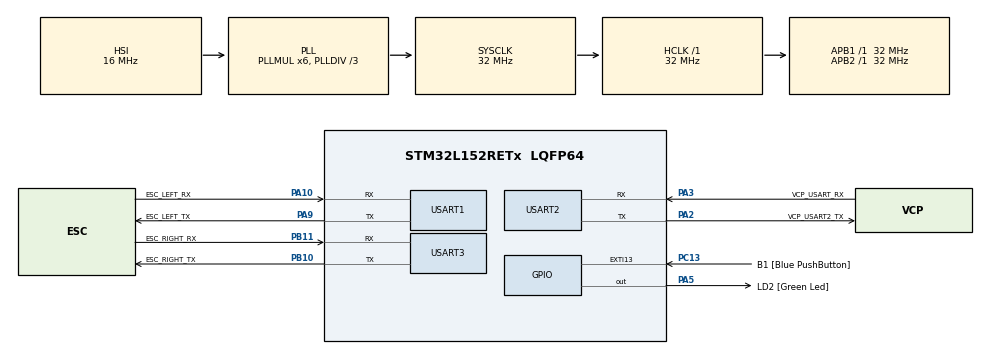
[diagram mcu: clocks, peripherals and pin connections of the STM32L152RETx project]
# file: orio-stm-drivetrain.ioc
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Mcu.Family=STM32L1
Mcu.Name=STM32L152RETx
Mcu.Package=LQFP64
NVIC.PriorityGroup=NVIC_PRIORITYGROUP_0
NVIC.USART1_IRQn=true\:0\:0\:false\:false\:true\:true\:true\:true
NVIC.USART2_IRQn=true\:0\:0\:false\:false\:true\:true\:true\:true
NVIC.USART3_IRQn=true\:0\:0\:false\:false\:true\:true\:true\:true
PA10.GPIO_Label=ESC_LEFT_RX
PA10.Mode=Asynchronous
PA10.Signal=USART1_RX
PA13.GPIO_Label=TMS
PA13.Mode=Serial_Wire
PA13.Signal=SYS_JTMS-SWDIO
PA14.GPIO_Label=TCK
PA14.Mode=Serial_Wire
PA14.Signal=SYS_JTCK-SWCLK
PA2.GPIO_Label=VCP_USART2_TX
PA2.Mode=Asynchronous
PA2.Signal=USART2_TX
PA3.GPIO_Label=VCP_USART_RX
PA3.Mode=Asynchronous
PA3.Signal=USART2_RX
PA5.GPIO_Label=LD2 [Green Led]
PA5.Signal=GPIO_Output
PA9.GPIO_Label=ESC_LEFT_TX
PA9.Mode=Asynchronous
PA9.Signal=USART1_TX
PB10.GPIO_Label=ESC_RIGHT_TX
PB10.Mode=Asynchronous
PB10.Signal=USART3_TX
PB11.GPIO_Label=ESC_RIGHT_RX
PB11.Mode=Asynchronous
PB11.Signal=USART3_RX
PB3.GPIO_Label=SWO
PB3.Signal=SYS_JTDO-TRACESWO
PC13-WKUP2.GPIO_Label=B1 [Blue PushButton]
PC13-WKUP2.Signal=GPXTI13
PC14-OSC32_IN.Mode=LSE-External-Oscillator
PC14-OSC32_IN.Signal=RCC_OSC32_IN
PC15-OSC32_OUT.Mode=LSE-External-Oscillator
PC15-OSC32_OUT.Signal=RCC_OSC32_OUT
PH0-OSC_IN.Mode=HSE-External-Clock-Source
PH0-OSC_IN.Signal=RCC_OSC_IN
PH1-OSC_OUT.Signal=RCC_OSC_OUT
ProjectManager.HeapSize=0x200
ProjectManager.StackSize=0x400
ProjectManager.TargetToolchain=STM32CubeIDE
RCC.48MHZClocksFreq_Value=48000000
RCC.AHBFreq_Value=32000000
RCC.APB1Freq_Value=32000000
RCC.APB1TimFreq_Value=32000000
RCC.APB2Freq_Value=32000000
RCC.APB2TimFreq_Value=32000000
RCC.HCLKFreq_Value=32000000
RCC.HSE_VALUE=8000000
RCC.HSI_VALUE=16000000
RCC.MSI_VALUE=2097000
RCC.PLLDIV=RCC_PLL_DIV3
RCC.PLLMUL=RCC_PLL_MUL6
RCC.RTCClockSelectionVirtual=RCC_RTCCLKSOURCE_LSE
RCC.SYSCLKFreq_VALUE=32000000
RCC.SYSCLKSource=RCC_SYSCLKSOURCE_PLLCLK
RCC.USBOutput=48000000
RCC.VCOOutputFreq_Value=96000000
USART1.VirtualMode=VM_ASYNC
USART2.VirtualMode=VM_ASYNC
USART3.VirtualMode=VM_ASYNC
board=NUCLEO-L152RE

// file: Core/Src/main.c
/* USER CODE BEGIN Header */
/**
  ******************************************************************************
  * @file           : main.c
  * @brief          : Main program body
  ******************************************************************************
  * @attention
  *
  * Copyright (c) 2026 STMicroelectronics.
  * All rights reserved.
  *
  * This software is licensed under terms that can be found in the LICENSE file
  * in the root directory of this software component.
  * If no LICENSE file comes with this software, it is provided AS-IS.
  *
  ******************************************************************************
  */
/* USER CODE END Header */
#include "main.h"

/* USER CODE BEGIN Includes */
#include "protocol.h"
#include "wheel.h"
/* USER CODE END Includes */

/* USER CODE BEGIN PD */
#define WHEEL_TELEMETRY_POLL_PERIOD_MS 50u
/* Well under the FSESC's own configured UART command timeout (~1000ms,
 * see VESC Tool -> App Settings -> General -> Timeout) -- that timeout
 * cuts the motor independently of this board's Jetson-link heartbeat
 * watchdog, so the commanded duty has to keep being re-sent even when it
 * hasn't changed, not just once when a new CMD_SET_DRIVE arrives. */
#define WHEEL_DUTY_REFRESH_PERIOD_MS 200u
/* USER CODE END PD */

UART_HandleTypeDef huart1;
UART_HandleTypeDef huart2;
UART_HandleTypeDef huart3;

/* USER CODE BEGIN PV */
static uint32_t s_last_telemetry_poll_tick;
static uint32_t s_last_duty_refresh_tick;
/* USER CODE END PV */

void SystemClock_Config(void);
static void MX_GPIO_Init(void);
static void MX_USART1_UART_Init(void);
static void MX_USART2_UART_Init(void);
static void MX_USART3_UART_Init(void);

int main(void)
{

  /* MCU Configuration--------------------------------------------------------*/

  /* Reset of all peripherals, Initializes the Flash interface and the Systick. */
  HAL_Init();

  /* Configure the system clock */
  SystemClock_Config();

  /* Initialize all configured peripherals */
  MX_GPIO_Init();
  MX_USART1_UART_Init();
  MX_USART2_UART_Init();
  MX_USART3_UART_Init();
  /* USER CODE BEGIN 2 */
  Wheel_Init(&huart1, &huart3); /* huart1 = left FSESC, huart3 = right FSESC */
  Protocol_Init(&huart2); /* e-stops both wheels until the first heartbeat */
  s_last_telemetry_poll_tick = HAL_GetTick();
  s_last_duty_refresh_tick = HAL_GetTick();
  /* USER CODE END 2 */

  /* Infinite loop */
  /* USER CODE BEGIN WHILE */
  while (1)
  {
    Protocol_Process();

    if ((HAL_GetTick() - s_last_telemetry_poll_tick) >= WHEEL_TELEMETRY_POLL_PERIOD_MS)
    {
      s_last_telemetry_poll_tick = HAL_GetTick();
      Wheel_PollTelemetry();
    }

    if ((HAL_GetTick() - s_last_duty_refresh_tick) >= WHEEL_DUTY_REFRESH_PERIOD_MS)
    {
      s_last_duty_refresh_tick = HAL_GetTick();
      Wheel_Resume(); /* re-sends the currently commanded duty, changed or not */
    }
    /* USER CODE END WHILE */

  }
}

void SystemClock_Config(void)
{
  RCC_OscInitTypeDef RCC_OscInitStruct = {0};
  RCC_ClkInitTypeDef RCC_ClkInitStruct = {0};

  /** Configure the main internal regulator output voltage
  */
  __HAL_PWR_VOLTAGESCALING_CONFIG(PWR_REGULATOR_VOLTAGE_SCALE1);

  /** Initializes the RCC Oscillators according to the specified parameters
  * in the RCC_OscInitTypeDef structure.
  */
  RCC_OscInitStruct.OscillatorType = RCC_OSCILLATORTYPE_HSI;
  RCC_OscInitStruct.HSIState = RCC_HSI_ON;
  RCC_OscInitStruct.HSICalibrationValue = RCC_HSICALIBRATION_DEFAULT;
  RCC_OscInitStruct.PLL.PLLState = RCC_PLL_ON;
  RCC_OscInitStruct.PLL.PLLSource = RCC_PLLSOURCE_HSI;
  RCC_OscInitStruct.PLL.PLLMUL = RCC_PLL_MUL6;
  RCC_OscInitStruct.PLL.PLLDIV = RCC_PLL_DIV3;
  if (HAL_RCC_OscConfig(&RCC_OscInitStruct) != HAL_OK)
  {
    Error_Handler();
  }

  /** Initializes the CPU, AHB and APB buses clocks
  */
  RCC_ClkInitStruct.ClockType = RCC_CLOCKTYPE_HCLK|RCC_CLOCKTYPE_SYSCLK
                              |RCC_CLOCKTYPE_PCLK1|RCC_CLOCKTYPE_PCLK2;
  RCC_ClkInitStruct.SYSCLKSource = RCC_SYSCLKSOURCE_PLLCLK;
  RCC_ClkInitStruct.AHBCLKDivider = RCC_SYSCLK_DIV1;
  RCC_ClkInitStruct.APB1CLKDivider = RCC_HCLK_DIV1;
  RCC_ClkInitStruct.APB2CLKDivider = RCC_HCLK_DIV1;

  if (HAL_RCC_ClockConfig(&RCC_ClkInitStruct, FLASH_LATENCY_1) != HAL_OK)
  {
    Error_Handler();
  }
}

static void MX_USART1_UART_Init(void)
{

  huart1.Instance = USART1;
  huart1.Init.BaudRate = 115200;
  huart1.Init.WordLength = UART_WORDLENGTH_8B;
  huart1.Init.StopBits = UART_STOPBITS_1;
  huart1.Init.Parity = UART_PARITY_NONE;
  huart1.Init.Mode = UART_MODE_TX_RX;
  huart1.Init.HwFlowCtl = UART_HWCONTROL_NONE;
  huart1.Init.OverSampling = UART_OVERSAMPLING_16;
  if (HAL_UART_Init(&huart1) != HAL_OK)
  {
    Error_Handler();
  }

}

static void MX_USART2_UART_Init(void)
{

  huart2.Instance = USART2;
  huart2.Init.BaudRate = 115200;
  huart2.Init.WordLength = UART_WORDLENGTH_8B;
  huart2.Init.StopBits = UART_STOPBITS_1;
  huart2.Init.Parity = UART_PARITY_NONE;
  huart2.Init.Mode = UART_MODE_TX_RX;
  huart2.Init.HwFlowCtl = UART_HWCONTROL_NONE;
  huart2.Init.OverSampling = UART_OVERSAMPLING_16;
  if (HAL_UART_Init(&huart2) != HAL_OK)
  {
    Error_Handler();
  }

}

static void MX_USART3_UART_Init(void)
{

  huart3.Instance = USART3;
  huart3.Init.BaudRate = 115200;
  huart3.Init.WordLength = UART_WORDLENGTH_8B;
  huart3.Init.StopBits = UART_STOPBITS_1;
  huart3.Init.Parity = UART_PARITY_NONE;
  huart3.Init.Mode = UART_MODE_TX_RX;
  huart3.Init.HwFlowCtl = UART_HWCONTROL_NONE;
  huart3.Init.OverSampling = UART_OVERSAMPLING_16;
  if (HAL_UART_Init(&huart3) != HAL_OK)
  {
    Error_Handler();
  }

}

static void MX_GPIO_Init(void)
{
  GPIO_InitTypeDef GPIO_InitStruct = {0};

  /* GPIO Ports Clock Enable */
  __HAL_RCC_GPIOC_CLK_ENABLE();
  __HAL_RCC_GPIOH_CLK_ENABLE();
  __HAL_RCC_GPIOA_CLK_ENABLE();
  __HAL_RCC_GPIOB_CLK_ENABLE();

  /*Configure GPIO pin Output Level */
  HAL_GPIO_WritePin(LD2_GPIO_Port, LD2_Pin, GPIO_PIN_RESET);

  /*Configure GPIO pin : B1_Pin */
  GPIO_InitStruct.Pin = B1_Pin;
  GPIO_InitStruct.Mode = GPIO_MODE_IT_RISING;
  GPIO_InitStruct.Pull = GPIO_NOPULL;
  HAL_GPIO_Init(B1_GPIO_Port, &GPIO_InitStruct);

  /*Configure GPIO pin : LD2_Pin */
  GPIO_InitStruct.Pin = LD2_Pin;
  GPIO_InitStruct.Mode = GPIO_MODE_OUTPUT_PP;
  GPIO_InitStruct.Pull = GPIO_NOPULL;
  GPIO_InitStruct.Speed = GPIO_SPEED_FREQ_LOW;
  HAL_GPIO_Init(LD2_GPIO_Port, &GPIO_InitStruct);

}

/* USER CODE BEGIN 4 */
/**
  * @brief  UART Rx-complete callback: forwards the received byte to the protocol layer.
  * @note   Only fires for USART2 (the Jetson link) -- USART1/USART3 (the two
  *         dedicated FSESC links) are driven exclusively by blocking calls
  *         from vesc.c, never armed with HAL_UART_Receive_IT, so no byte
  *         from either of them ever lands here.
  * @param  huart UART handle for which the receive completed.
  * @retval None
  */
void HAL_UART_RxCpltCallback(UART_HandleTypeDef *huart)
{
  Protocol_UART_RxCpltCallback(huart);
}
/* USER CODE END 4 */

void Error_Handler(void)
{
  __disable_irq();
  while (1)
  {
  }
}
